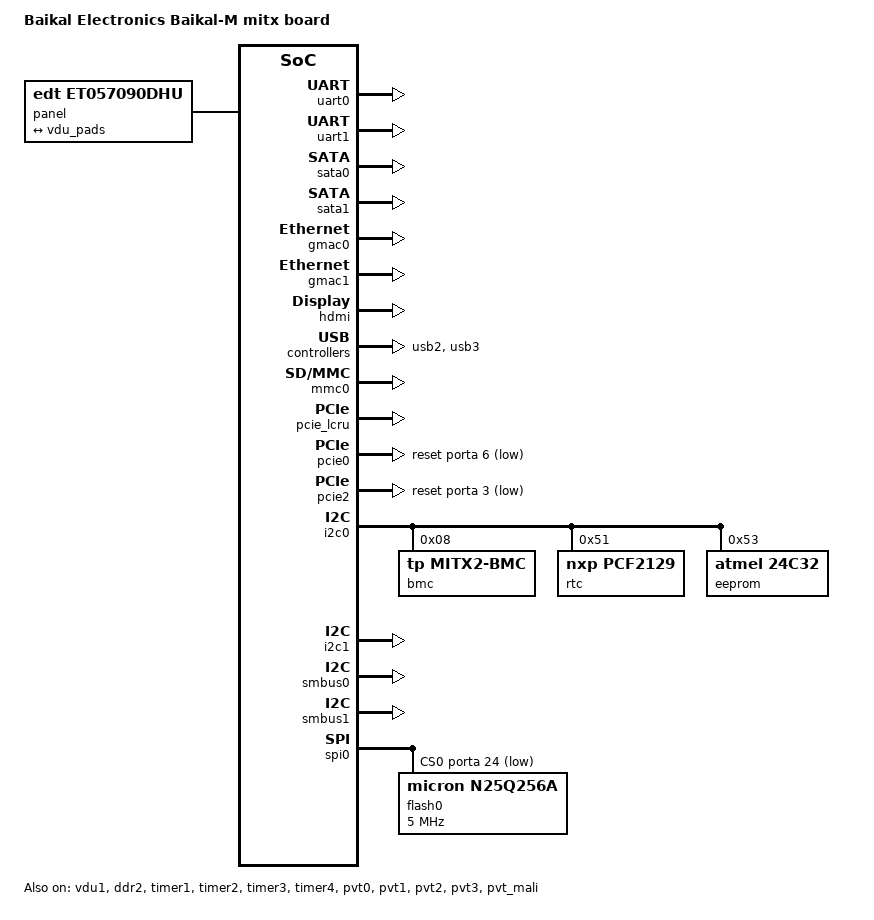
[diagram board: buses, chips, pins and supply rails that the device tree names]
/*
 * Baikal-M Mini-ITX board device tree (test version)
 *
 */

/dts-v1/;

#include <dt-bindings/interrupt-controller/arm-gic.h>
#include <dt-bindings/gpio/gpio.h>
#include <dt-bindings/sound/tlv320aic31xx-micbias.h>

#include "bm-soc.dtsi"
#include "bm-mali.dtsi"

/ {

	model = "Baikal Electronics Baikal-M mitx board";
	compatible = "baikal,baikal-m";
	#address-cells = <2>;
	#size-cells = <2>;

	cmu_cluster0 {
		clock-frequency = <1500000000>;
	};

	cmu_cluster1 {
		clock-frequency = <1500000000>;
	};

	cmu_cluster2 {
		clock-frequency = <1500000000>;
	};

	cmu_cluster3 {
		clock-frequency = <1500000000>;
	};

	chosen {
		/*stdout-path = "serial0:115200n8";
		bootargs = "root=/dev/ram rw rootwait console=ttyS0,115200n8 earlyprintk=uart8250,mmio32,0x20230000,115200";
		linux,initrd-start = <0x0 0x80490000>;
		linux,initrd-end = <0x0 0x81490000>;*/
	};

	/*
	reserved-memory {
		#address-cells = <1>;
		#size-cells = <1>;
		ranges;
		display_reserved: framebuffer@90200000 {
			reg = <0x90200000 0xfe00000>;
		};
	};*/

	panel: panel {
		compatible = "edt,et057090dhu";

		port {
			lcd_panel: endpoint {
				remote-endpoint = <&vdu_pads>;
			};
		};
	};

};

&uart0 {
	status = "okay";
};

&uart1 {
	status = "okay";
};

&sata0 {
	status = "okay";
};

&sata1 {
	status = "okay";
};

&gmac0 {
	status = "okay";
};

&gmac1 {
	status = "okay";
};

&hdmi {
	status = "okay";
};

&vdu1 {
	status = "okay";
};

&gpio {
	status = "okay";
};

&ddr2 {
	status = "okay";
};

&gpu {
        system-coherency = <0>;
};

&usb2 {
	status = "okay";
};

&usb3 {
	status = "okay";
};

&mmc0 {
	status = "okay";
};

&pcie_lcru {
	status = "okay";
};

&pcie0 {
	status = "okay";
	reset-gpios = <&porta 6 GPIO_ACTIVE_LOW>;
};

&pcie2 {
	status = "okay";
	reset-gpios = <&porta 3 GPIO_ACTIVE_LOW>;
};

&timer1 {
	status = "okay";
};

&timer2 {
	status = "okay";
};

&timer3 {
	status = "okay";
};

&timer4 {
	status = "okay";
};

&pvt0 {
	status = "okay";
};

&pvt1 {
	status = "okay";
};

&pvt2 {
	status = "okay";
};

&pvt3 {
	status = "okay";
};

&pvt_mali {
	status = "okay";
};

&i2c0 {
	status = "okay";

	bmc@8 {
		compatible = "tp,mitx2-bmc", "t-platforms,mitx2-bmc";
		reg = <0x08>;
	};

	rtc@51 {
		compatible = "nxp,pcf2129", "nxp,pcf2127";
		reg = <0x51>;
	};

	eeprom@53 {
		compatible = "atmel,24c32";
		pagesize = <32>;
		reg = <0x53>;
	};

};

&i2c1 {
	status = "okay";

};

&smbus0 {
	status = "okay";
};

&smbus1 {
	status = "okay";
};

&spi0 {
	num-cs = <4>;

	cs-gpios =
		<&porta 24 1>,   /* ss0 xp8  - DD53 normal flash */
		<&porta 25 1>,   /* ss1 xp9  */
		<&porta 26 1>,   /* ss2 xp10 */
		<&porta 27 1>;   /* ss3 xp11 */
	status = "okay";

	/* SPI flash chip #1 */
	flash0: m25p80@0 {
		compatible = "micron,n25q256a", "jedec,spi-nor";
		reg = <0>;
		#address-cells = <1>;
		#size-cells = <1>;
		spi-max-frequency = <5000000>;
		status = "okay";

		/* Flash chip0 partitions */
		mtd0@00000000 {
			label = "bl1";
			reg = <0x00000000 0x00040000>;
			read-only;
		};

		mtd1@00040000 {
			label = "fip";
			reg = <0x00040000 0x007c0000>;
		};

		mtd2@00800000 {
			label = "rescue";
			reg = <0x00800000 0x01800000>;
		};
	};
};

#if 0
/* undefined */
&spi1 {
	num-cs = <4>;
	cs-gpios =
		<&porta 20 1>,   /* ss0 xp15  - DD57 boot flash */
		<&porta 21 1>,   /* ss1 xp16 */
		<&porta 22 1>,   /* ss2 xp17 */
		<&porta 23 1>;   /* ss3 xp18 */
	status = "okay";

	/* SPI flash chip #2 */
	flash0: m25p80@0 {
		compatible = "micron,n25q256a", "jedec,spi-nor";
		reg = <0>;
		#address-cells = <1>;
		#size-cells = <1>;
		spi-max-frequency = <12500000>;
		status = "okay";

		/* Flash chip1 partitions */
		mtd0@00000000 {
			label = "fip_backup";
			reg = <0x00000000 0x00400000>;
			read-only;
		};

		mtd1@00400000 {
			label = "env_backup";
			reg = <0x00400000 0x00100000>;
			read-only;
		};

		mtd2@00500000 {
			label = "data1";
			reg = <0x00500000 0x01b00000>;
		};
	};
};
#endif
